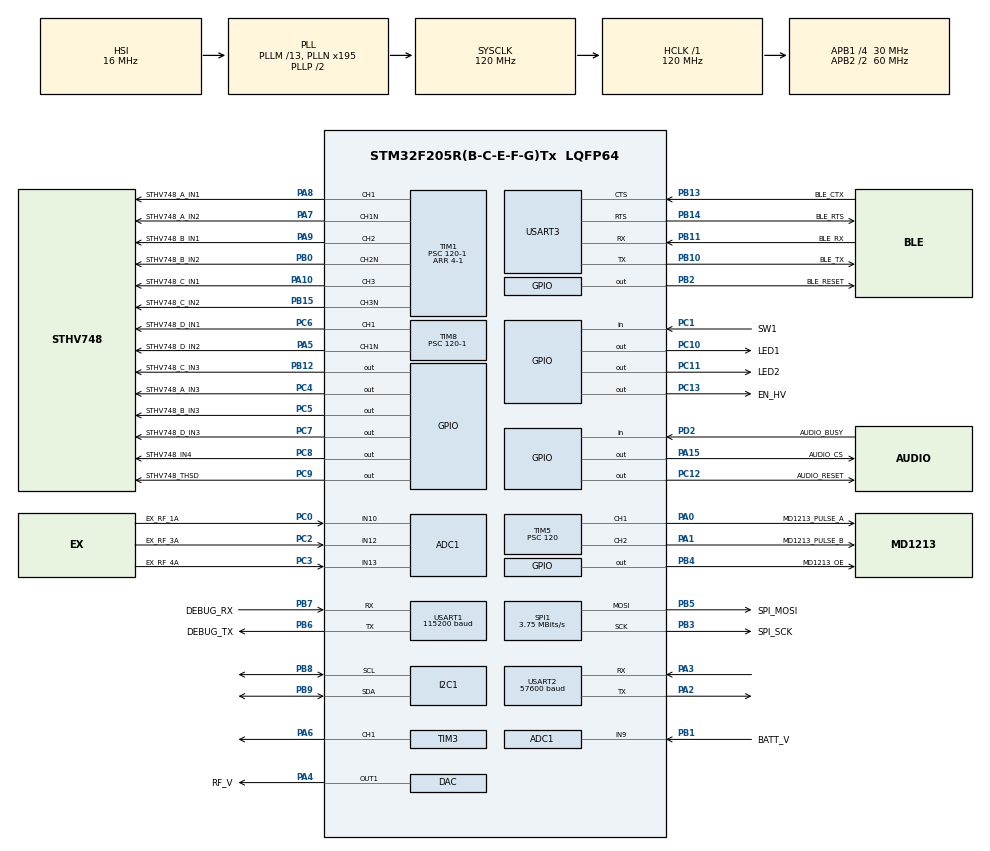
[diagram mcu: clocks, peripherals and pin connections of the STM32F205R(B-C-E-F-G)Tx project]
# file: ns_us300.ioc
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VP_TIM5_VS_ClockSourceINT.Mode=Internal
PC10.GPIO_PuPd=GPIO_PULLUP
TIM1.OCIdleState_1=TIM_OCIDLESTATE_SET
SPI1.VirtualType=VM_MASTER
PB10.Mode=Asynchronous
NVIC.TIM6_DAC_IRQn=true\:0\:0\:false\:false\:true\:true\:true
TIM1.Pulse-PWM\ Generation1\ CH1\ CH1N=2
PC12.Signal=GPIO_Output
PB14.GPIO_Label=BLE_RTS
PC6.GPIO_Label=STHV748_D_IN1
PB6.GPIO_Label=DEBUG_TX
PB13.Signal=USART3_CTS
RCC.SYSCLKSource=RCC_SYSCLKSOURCE_PLLCLK
TIM1.Pulse-PWM\ Generation2\ CH2\ CH2N=2
TIM8.OCNPolarity_1=TIM_OCNPOLARITY_LOW
PC13.GPIO_ModeDefaultOutputPP=GPIO_MODE_OUTPUT_PP
SPI1.Direction=SPI_DIRECTION_2LINES
RCC.APB2TimFreq_Value=120000000
PB6.Signal=USART1_TX
PC7.Signal=GPIO_Output
PB6.Mode=Asynchronous
SPI1.CalculateBaudRate=3.75 MBits/s
PC3.Signal=ADCx_IN13
TIM5.Pulse-PWM\ Generation1\ CH1=1
PB2.Signal=GPIO_Output
PB3.Mode=TX_Only_Simplex_Unidirect_Master
PB12.GPIO_ModeDefaultOutputPP=GPIO_MODE_OUTPUT_PP
PC1.GPIO_PuPd=GPIO_PULLUP
PB12.GPIO_Label=STHV748_C_IN3
PC4.GPIO_Label=STHV748_A_IN3
PB14.Mode=CTS_RTS
PB1.GPIO_Label=BATT_V
SPI1.DataSize=SPI_DATASIZE_16BIT
PA8.Signal=S_TIM1_CH1
PB2.GPIO_PuPd=GPIO_PULLUP
VP_TIM1_VS_ClockSourceINT.Mode=Internal
ADC1.SamplingTime-0\#ChannelRegularConversion=ADC_SAMPLETIME_3CYCLES
Mcu.Package=LQFP64
PB9.Signal=I2C1_SDA
PB1.Signal=ADCx_IN9
PA10.Signal=S_TIM1_CH3
TIM7.AutoReloadPreload=TIM_AUTORELOAD_PRELOAD_ENABLE
PC8.GPIO_Speed=GPIO_SPEED_FREQ_VERY_HIGH
SH.ADCx_IN9.0=ADC1_IN9,IN9
RCC.APB2CLKDivider=RCC_HCLK_DIV2
RCC.APB1TimFreq_Value=60000000
TIM1.Period=4-1
PB13.Mode=CTS_RTS
PC12.GPIO_PuPd=GPIO_PULLUP
NVIC.USART1_IRQn=true\:0\:0\:false\:false\:true\:true\:true
PB2.GPIO_ModeDefaultOutputPP=GPIO_MODE_OUTPUT_PP
PA4.GPIO_Label=RF_V
PA5.Mode=PWM Generation1 CH1 CH1N
PC7.GPIO_ModeDefaultOutputPP=GPIO_MODE_OUTPUT_PP
TIM1.OCPolarity_1=TIM_OCPOLARITY_LOW
TIM1.OCPolarity_3=TIM_OCPOLARITY_LOW
TIM5.Pulse-PWM\ Generation2\ CH2=1
TIM5.OC1Preload_PWM=DISABLE
TIM1.OCPolarity_2=TIM_OCPOLARITY_LOW
ADC1.Rank-0\#ChannelRegularConversion=1
TIM3.AutoReloadPreload=TIM_AUTORELOAD_PRELOAD_ENABLE
PA9.GPIO_Label=STHV748_B_IN1
PC13.Signal=GPIO_Output
PC6.Signal=S_TIM8_CH1
PC2.Signal=ADCx_IN12
PB11.GPIO_Label=BLE_RX
SPI1.CLKPhase=SPI_PHASE_1EDGE
TIM1.Channel-PWM\ Generation1\ CH1\ CH1N=TIM_CHANNEL_1
PC0.Signal=ADCx_IN10
RCC.APB1CLKDivider=RCC_HCLK_DIV4
USART2.BaudRate=57600
PA0-WKUP.GPIO_Label=MD1213_PULSE_A
PA0-WKUP.Signal=S_TIM5_CH1
PA3.Mode=Asynchronous
TIM1.AutoReloadPreload=TIM_AUTORELOAD_PRELOAD_ENABLE
TIM1.Channel-PWM\ Generation2\ CH2\ CH2N=TIM_CHANNEL_2
TIM5.TIM_MasterOutputTrigger=TIM_TRGO_ENABLE
PA8.GPIO_Label=STHV748_A_IN1
TIM3.Pulse-PWM\ Generation1\ CH1=0
PB11.Mode=Asynchronous
TIM5.OC2Preload_PWM=DISABLE
PA9.Signal=S_TIM1_CH2
VP_TIM8_VS_ClockSourceINT.Mode=Internal
TIM1.Channel-PWM\ Generation3\ CH3\ CH3N=TIM_CHANNEL_3
PB4.GPIO_PuPd=GPIO_PULLUP
PC7.GPIO_PuPd=GPIO_PULLUP
PB10.Signal=USART3_TX
PB14.Signal=USART3_RTS
PA5.Signal=TIM8_CH1N
SH.S_TIM8_CH1.0=TIM8_CH1,PWM Generation1 CH1 CH1N
TIM8.AutoReloadPreload=TIM_AUTORELOAD_PRELOAD_ENABLE
PB4.GPIO_Label=MD1213_OE
PB15.GPIO_Label=STHV748_C_IN2
SPI1.Mode=SPI_MODE_MASTER
PA1.GPIO_Label=MD1213_PULSE_B
PC9.GPIO_PuPd=GPIO_PULLUP
PA13.Mode=Serial_Wire
TIM1.Pulse-PWM\ Generation3\ CH3\ CH3N=2
TIM5.OCFastMode_PWM-PWM\ Generation1\ CH1=TIM_OCFAST_ENABLE
TIM8.Period=4-1
TIM8.OCPolarity_1=TIM_OCPOLARITY_LOW
PC7.GPIO_Label=STHV748_D_IN3
PC8.GPIO_PuPd=GPIO_PULLUP
TIM5.Channel-PWM\ Generation2\ CH2=TIM_CHANNEL_2
PA4.Signal=COMP_DAC1_group
PB5.Signal=SPI1_MOSI
ADC1.master=1
PA5.GPIO_Label=STHV748_D_IN2
TIM5.OCFastMode_PWM-PWM\ Generation2\ CH2=TIM_OCFAST_ENABLE
PC12.GPIO_Label=AUDIO_RESET
USART1.VirtualMode=VM_ASYNC
TIM5.Channel-PWM\ Generation1\ CH1=TIM_CHANNEL_1
ProjectManager.HeapSize=0x200
PC9.GPIO_Speed=GPIO_SPEED_FREQ_VERY_HIGH
NVIC.PriorityGroup=NVIC_PRIORITYGROUP_4
PC5.GPIO_Speed=GPIO_SPEED_FREQ_VERY_HIGH
PB8.Mode=I2C
PC3.GPIO_Label=EX_RF_4A
PD2.Signal=GPIO_Input
PB12.GPIO_PuPd=GPIO_PULLUP
PB0.Signal=TIM1_CH2N
PC1.Signal=GPIO_Input
PD2.GPIO_Label=AUDIO_BUSY
Mcu.Family=STM32F2
NVIC.USART3_IRQn=true\:0\:0\:false\:false\:true\:true\:true
RCC.CortexFreq_Value=120000000
USART1.BaudRate=115200
PC10.Signal=GPIO_Output
PB2.GPIO_Speed=GPIO_SPEED_FREQ_VERY_HIGH
SH.S_TIM5_CH2.0=TIM5_CH2,PWM Generation2 CH2
PC0.GPIO_Label=EX_RF_1A
PB0.GPIO_Label=STHV748_B_IN2
TIM5.OCPolarity_2=TIM_OCPOLARITY_LOW
PC13.GPIO_Label=EN_HV
PB13.GPIO_Label=BLE_CTX
PB11.Signal=USART3_RX
PB15.Signal=TIM1_CH3N
ProjectManager.StackSize=0x400
TIM5.OCPolarity_1=TIM_OCPOLARITY_LOW
VP_TIM7_VS_ClockSourceINT.Mode=Enable_Timer
PA15.GPIO_Label=AUDIO_CS
PC11.GPIO_PuPd=GPIO_PULLUP
TIM1.Prescaler=120-1
SPI1.CLKPolarity=SPI_POLARITY_LOW
RCC.HCLKFreq_Value=120000000
TIM3.Period=1000-1
TIM5.TIM_MasterSlaveMode=TIM_MASTERSLAVEMODE_DISABLE
TIM7.Period=1000-1
RCC.AHBFreq_Value=120000000
TIM3.Channel-PWM\ Generation1\ CH1=TIM_CHANNEL_1
TIM8.Channel-PWM\ Generation1\ CH1\ CH1N=TIM_CHANNEL_1
ADC1.Channel-0\#ChannelRegularConversion=ADC_CHANNEL_9
RCC.HSE_VALUE=25000000
PC4.GPIO_Speed=GPIO_SPEED_FREQ_VERY_HIGH
PA14.Mode=Serial_Wire
TIM3.Prescaler=59
PB5.Mode=TX_Only_Simplex_Unidirect_Master
PC11.GPIO_Label=LED2
PA10.GPIO_Label=STHV748_C_IN1
PC13.GPIO_PuPd=GPIO_PULLUP
PB7.Signal=USART1_RX
SH.S_TIM3_CH1.0=TIM3_CH1,PWM Generation1 CH1
TIM6.Period=240-1
TIM3.OCPolarity_1=TIM_OCPOLARITY_HIGH
PB7.GPIO_Label=DEBUG_RX
PA6.Signal=S_TIM3_CH1
USART2.VirtualMode=VM_ASYNC
PC8.GPIO_ModeDefaultOutputPP=GPIO_MODE_OUTPUT_PP
PA15.Signal=GPIO_Output
TIM8.Prescaler=120-1
PB5.GPIO_Label=SPI_MOSI
SH.S_TIM5_CH1.0=TIM5_CH1,PWM Generation1 CH1
PC5.Signal=GPIO_Output
SPI1.BaudRatePrescaler=SPI_BAUDRATEPRESCALER_16
PC2.GPIO_Label=EX_RF_3A
NVIC.TIM7_IRQn=true\:0\:0\:false\:false\:true\:true\:true
VP_TIM3_VS_ClockSourceINT.Mode=Internal
TIM8.Pulse-PWM\ Generation1\ CH1\ CH1N=2
PB4.Signal=GPIO_Output
PA3.Signal=USART2_RX
PB3.GPIO_Label=SPI_SCK
SH.COMP_DAC1_group.0=DAC_OUT1,DAC_OUT1
SH.ADCx_IN13.0=ADC1_IN13,IN13
PA7.Mode=PWM Generation1 CH1 CH1N
PC10.GPIO_Label=LED1
PC9.GPIO_Label=STHV748_THSD
PC4.GPIO_PuPd=GPIO_PULLUP
PC11.Signal=GPIO_Output
PC8.Signal=GPIO_Output
TIM6.Prescaler=25000-1
PC4.Signal=GPIO_Output
VP_TIM6_VS_ClockSourceINT.Mode=Enable_Timer
PC5.GPIO_PuPd=GPIO_PULLUP
NVIC.USART2_IRQn=true\:0\:0\:false\:false\:true\:true\:true
TIM5.AutoReloadPreload=TIM_AUTORELOAD_PRELOAD_ENABLE
PC8.GPIO_Label=STHV748_IN4
PA13.Signal=SYS_JTMS-SWDIO
TIM6.AutoReloadPreload=TIM_AUTORELOAD_PRELOAD_ENABLE
SH.ADCx_IN12.0=ADC1_IN12,IN12
SH.S_TIM1_CH1.0=TIM1_CH1,PWM Generation1 CH1 CH1N
ProjectManager.TargetToolchain=EWARM V8.32
PB10.GPIO_Label=BLE_TX
PB9.Mode=I2C
RCC.LSE_VALUE=32768
PA1.Signal=S_TIM5_CH2
PB12.GPIO_Speed=GPIO_SPEED_FREQ_VERY_HIGH
PB0.Mode=PWM Generation2 CH2 CH2N
TIM7.Prescaler=59
board=custom
PC7.GPIO_Speed=GPIO_SPEED_FREQ_VERY_HIGH
RCC.VCOOutputFreq_Value=240000000
TIM1.OCNPolarity_1=TIM_OCNPOLARITY_LOW
PB15.Mode=PWM Generation3 CH3 CH3N
TIM1.OCNIdleState_1=TIM_OCNIDLESTATE_SET
PA15.PinState=GPIO_PIN_SET
RCC.APB2Freq_Value=60000000
TIM1.OCNPolarity_3=TIM_OCNPOLARITY_LOW
TIM1.OCNPolarity_2=TIM_OCNPOLARITY_LOW
SH.S_TIM1_CH2.0=TIM1_CH2,PWM Generation2 CH2 CH2N
PC9.GPIO_ModeDefaultOutputPP=GPIO_MODE_OUTPUT_PP
PC1.GPIO_Label=SW1
Mcu.Name=STM32F205R(B-C-E-F-G)Tx
PA2.Signal=USART2_TX
RCC.48MHZClocksFreq_Value=48000000
PB3.Signal=SPI1_SCK
RCC.SYSCLKFreq_VALUE=120000000
USART1.OverSampling=UART_OVERSAMPLING_16
PA7.GPIO_Label=STHV748_A_IN2
TIM5.Prescaler=120
PC5.GPIO_Label=STHV748_B_IN3
USART3.VirtualMode=VM_ASYNC
PA15.GPIO_Speed=GPIO_SPEED_FREQ_VERY_HIGH
PB7.Mode=Asynchronous
PA14.Signal=SYS_JTCK-SWCLK
SH.ADCx_IN10.0=ADC1_IN10,IN10
PB2.GPIO_Label=BLE_RESET
SH.S_TIM1_CH3.0=TIM1_CH3,PWM Generation3 CH3 CH3N
RCC.HSI_VALUE=16000000
RCC.PLLQ=5
ADC1.NbrOfConversionFlag=1
RCC.PLLM=13
RCC.PLLN=195
PA15.GPIO_PuPd=GPIO_PULLUP
PA2.Mode=Asynchronous
PB8.Signal=I2C1_SCL
TIM5.Period=2-1
PC9.Signal=GPIO_Output
RCC.APB1Freq_Value=30000000
PC5.GPIO_ModeDefaultOutputPP=GPIO_MODE_OUTPUT_PP
PB12.Signal=GPIO_Output
PA7.Signal=TIM1_CH1N

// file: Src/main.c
/* USER CODE BEGIN Header */
/**
  ******************************************************************************
  * @file           : main.c
  * @brief          : Main program body
  ******************************************************************************
  * @attention
  *
  * <h2><center>&copy; Copyright (c) 2022 STMicroelectronics.
  * All rights reserved.</center></h2>
  *
  * This software component is licensed by ST under BSD 3-Clause license,
  * the "License"; You may not use this file except in compliance with the
  * License. You may obtain a copy of the License at:
  *                        opensource.org/licenses/BSD-3-Clause
  *
  ******************************************************************************
  */
/* USER CODE END Header */

#include "main.h"

/* USER CODE BEGIN Includes */
#include "debug.h"
#include "buffer.h"
#include "ringbuffer.h"
#include "xprintf.h"
#include "soft_timer.h"
#include "keyscan.h"

#include "task1.h"
#include "task2.h"
/* USER CODE END Includes */

/* USER CODE BEGIN PM */

//#define USEC100  (100)
//#define SEC      (1000*10)

/* USER CODE END PM */

ADC_HandleTypeDef hadc1;

DAC_HandleTypeDef hdac;

I2C_HandleTypeDef hi2c1;

SPI_HandleTypeDef hspi1;

TIM_HandleTypeDef htim1;
TIM_HandleTypeDef htim3;
TIM_HandleTypeDef htim5;
TIM_HandleTypeDef htim6;
TIM_HandleTypeDef htim7;
TIM_HandleTypeDef htim8;

UART_HandleTypeDef huart1;
UART_HandleTypeDef huart2;
UART_HandleTypeDef huart3;

/* USER CODE BEGIN PV */
CONFIG_T gConfig;
uint8_t  UARTRxBuffIdx;
uint8_t  UARTRxBuff[128];

uint8_t  UARTRxEEGBuffIdx;
uint8_t  UARTRxEEGBuff[128];
// char     Received[256];
// BUFFER_t USART_Buffer;
// uint8_t  USARTBuffer[RX_RING_SIZE];

uint16_t tim3_ch1_duty;

uint8_t  console_debug = 1;

 uint8_t  RF_Start = 0;
 uint16_t RF_PSC;
/* USER CODE END PV */

void SystemClock_Config(void);
static void MX_GPIO_Init(void);
static void MX_ADC1_Init(void);
static void MX_I2C1_Init(void);
static void MX_TIM1_Init(void);
static void MX_TIM5_Init(void);
static void MX_TIM8_Init(void);
static void MX_USART1_UART_Init(void);
static void MX_USART3_UART_Init(void);
static void MX_TIM6_Init(void);
static void MX_DAC_Init(void);
static void MX_TIM3_Init(void);
static void MX_TIM7_Init(void);
static void MX_USART2_UART_Init(void);
static void MX_SPI1_Init(void);
/* USER CODE BEGIN PFP */

int32_t setTBDAndDuty(int32_t tbd,int32_t duty);
int32_t setTiming(int32_t SD,int32_t ISI,int32_t *pTD);
int32_t calcurateSD(int32_t sd,int32_t prp);

void InituserTask03(CONFIG_T *sysconf);
void userTask03(CONFIG_T *sysconf);

extern void dig_port(uint16_t val);
/* USER CODE END PFP */

/* USER CODE BEGIN 0 */
void CONFIG_MODE(uint32_t timeOut)
{
  gConfig.state = 1;
  gConfig.timeout = timeOut;
}

void GPIO_HV_Enable(uint8_t enable)
{
  //Single HV EN
  if(enable)
    GPIOC->BSRR  = EN_HV_Pin;
  else
    GPIOC->BSRR = (uint32_t)EN_HV_Pin << 16U;

  //Multy HV EN
  if(enable)
    GPIOB->BSRR  = BATT_V_Pin;
  else
    GPIOB->BSRR = (uint32_t)BATT_V_Pin << 16U;
}

void MD1213_OE_Enable(uint8_t enable)
{
  if(enable)
    MD1213_OE_GPIO_Port->BSRR  = MD1213_OE_Pin;
  else
    MD1213_OE_GPIO_Port->BSRR = (uint32_t)MD1213_OE_Pin << 16U;
}

void STHV748_THSD_Enable(uint8_t enable)
{
  if(enable)
    STHV748_THSD_GPIO_Port->BSRR  = STHV748_THSD_Pin;
  else
    STHV748_THSD_GPIO_Port->BSRR = (uint32_t)STHV748_THSD_Pin << 16U;
}

void LED1_ON(uint8_t on)
{
  if(!on)
    LED1_GPIO_Port->BSRR  = LED1_Pin;
  else
    LED1_GPIO_Port->BSRR = (uint32_t)LED1_Pin << 16U;
}

void calcuarateEnv(CONFIG_T *env, Timer_T *t)
{

}
void Load_Env(CONFIG_T *env)
{
  if(env != NULL)
  {

    // NvCheckAndReset();
    // NvReadAll(env);

     env->setFrequency = 250000;
     env->setOutputVoltage = 50;

     // 1 = 4us
     env->setTBD  =  from100uSEC(1);   // range 0.1 ~ 50ms  (100 ~ 50000)
     env->setDuty =  50;   //  range   1 ~ 100 %
     env->setPRP  = setTBDAndDuty(env->setTBD,env->setDuty);

     env->setSD  =  env->setPRP*5;      // range 1 ~ 500ms  (1000 ~ 500000)
     env->setISI =  env->setSD;       // s
     env->setBI  = env->setSD + env->setISI;    // s
     env->setTD  = 100*SEC;     // s

     env->setImpedance = 50;

    env->setDelay[RF_CH0] = 0;
    env->setDelay[RF_CH1] = 0;
    env->setDelay[RF_CH2] = from100uSEC(1);//10*USEC100;
    env->setDelay[RF_CH3] = from100uSEC(2);//20*USEC100;
    env->setDelay[RF_CH4] = from100uSEC(3);//30*USEC100;
    env->setDelay[RF_CH5] = from100uSEC(3);//40*USEC100;
    env->setDelay[RF_CH6] = from100uSEC(3);//50*USEC100;

    env->setAbnormalStopMode = 0;
    env->setAbnormalStopMaxV = 50;
    env->setAbnormalStopMaxI = 50;
    env->setAbnormalStopMinV = 50;
    env->setAbnormalStopMinI = 50;

    env->sonication = 0;

  }

}

void display_version(void)
{
  DBG_INFO("\r\nVersion %s(%s %s)\r\n",_VERSION_,__DATE__,__TIME__);
}

void indro_message(void)
{
#if defined(CONFIG_MULTI)
  DBG_INFO("\r\n\r\nNEUROSONA NS-US300 Multi  RF ES B'rd");
#else
  DBG_INFO("\r\n\r\nNEUROSONA NS-US300 Single RF ES B'rd");
#endif
  DBG_INFO("\r\nBuild Date  %s %s",__DATE__,__TIME__);
  DBG_INFO("\r\nFW  Version %s\r\n",_VERSION_);
  DBG_INFO_MAG("NEUROSONA Co., Ltd. ");
  DBG_INFO_CYN("www.neurosona.com\r\n");
}
/* USER CODE END 0 */

int main(void)
{
  /* USER CODE BEGIN 1 */
  uint8_t x = 0;
  /* USER CODE END 1 */

  /* MCU Configuration--------------------------------------------------------*/

  /* Reset of all peripherals, Initializes the Flash interface and the Systick. */
  HAL_Init();

  /* Configure the system clock */
  SystemClock_Config();

  /* Initialize all configured peripherals */
  MX_GPIO_Init();
  MX_ADC1_Init();
  MX_I2C1_Init();
  MX_TIM1_Init();
  MX_TIM5_Init();
  MX_TIM8_Init();
  MX_USART1_UART_Init();
  MX_USART3_UART_Init();
  MX_TIM6_Init();
  MX_DAC_Init();
  MX_TIM3_Init();
  MX_TIM7_Init();
  MX_USART2_UART_Init();
  MX_SPI1_Init();
  /* USER CODE BEGIN 2 */
  InitSysTimeOut();
#if defined(DEBUG_UART3)
  DEBUG_LL_USARTInit(&huart1,&huart3);
  BUFFER_Init(&USART_Buffer, RX_RING_SIZE, USARTBuffer);
#else
  DEBUG_LL_USARTInit(&huart1,NULL);
  BUFFER_Init(&USART_Buffer, RX_RING_SIZE, USARTBuffer);
#endif

  indro_message();
#if 0

#endif

  #if defined(CONFIG_MULTI)
  {
    GPIO_InitTypeDef GPIO_InitStruct = {0};
    /*Configure GPIO pin Output Level */
    HAL_GPIO_WritePin(GPIOB, BATT_V_Pin, GPIO_PIN_RESET);

    /*Configure GPIO pins : BATT_V_Pin  */
    GPIO_InitStruct.Pin = BATT_V_Pin;
    GPIO_InitStruct.Mode = GPIO_MODE_OUTPUT_PP;
    GPIO_InitStruct.Pull = GPIO_PULLUP;
    GPIO_InitStruct.Speed = GPIO_SPEED_FREQ_LOW;
    HAL_GPIO_Init(GPIOB, &GPIO_InitStruct);
  }
  #endif
  GPIO_HV_Enable(DISABLE);

#if defined(CONFIG_MULTI)
  STHV748_THSD_Enable(DISABLE);
#else
  MD1213_OE_Enable(DISABLE);
#endif
  /* USER CODE END 2 */

  /* Infinite loop */
  /* USER CODE BEGIN WHILE */

  UARTRxBuffIdx = 0;

#if defined(DEBUG_UART3)
  HAL_UART_Receive_IT(&huart3,(uint8_t*)&UARTRxBuff[UARTRxBuffIdx],1);
  HAL_UART_Receive_IT(&huart1,(uint8_t*)&UARTRxBuff[UARTRxBuffIdx],1);
#else
  HAL_UART_Receive_IT(&huart1,(uint8_t*)&UARTRxBuff[UARTRxBuffIdx],1);
#endif

  UARTRxEEGBuffIdx = 0;
  HAL_UART_Receive_IT(&huart2,(uint8_t*)&UARTRxEEGBuff[UARTRxEEGBuffIdx],1);

  Load_Env(&gConfig);

  sound_enable();

  InituserTask01(&gConfig);
  InituserTask02(&gConfig);
  InituserTask03(&gConfig);

  while (1)
  {
    /* USER CODE END WHILE */

    /* USER CODE BEGIN 3 */
    userTask01(&gConfig);
    userTask02(&gConfig);
    userTask03(&gConfig);
  }
  /* USER CODE END 3 */
}

void SystemClock_Config(void)
{
  RCC_OscInitTypeDef RCC_OscInitStruct = {0};
  RCC_ClkInitTypeDef RCC_ClkInitStruct = {0};

  /** Initializes the CPU, AHB and APB busses clocks
  */
  RCC_OscInitStruct.OscillatorType = RCC_OSCILLATORTYPE_HSI;
  RCC_OscInitStruct.HSIState = RCC_HSI_ON;
  RCC_OscInitStruct.HSICalibrationValue = RCC_HSICALIBRATION_DEFAULT;
  RCC_OscInitStruct.PLL.PLLState = RCC_PLL_ON;
  RCC_OscInitStruct.PLL.PLLSource = RCC_PLLSOURCE_HSI;
  RCC_OscInitStruct.PLL.PLLM = 13;
  RCC_OscInitStruct.PLL.PLLN = 195;
  RCC_OscInitStruct.PLL.PLLP = RCC_PLLP_DIV2;
  RCC_OscInitStruct.PLL.PLLQ = 5;
  if (HAL_RCC_OscConfig(&RCC_OscInitStruct) != HAL_OK)
  {
    Error_Handler();
  }
  /** Initializes the CPU, AHB and APB busses clocks
  */
  RCC_ClkInitStruct.ClockType = RCC_CLOCKTYPE_HCLK|RCC_CLOCKTYPE_SYSCLK
                              |RCC_CLOCKTYPE_PCLK1|RCC_CLOCKTYPE_PCLK2;
  RCC_ClkInitStruct.SYSCLKSource = RCC_SYSCLKSOURCE_PLLCLK;
  RCC_ClkInitStruct.AHBCLKDivider = RCC_SYSCLK_DIV1;
  RCC_ClkInitStruct.APB1CLKDivider = RCC_HCLK_DIV4;
  RCC_ClkInitStruct.APB2CLKDivider = RCC_HCLK_DIV2;

  if (HAL_RCC_ClockConfig(&RCC_ClkInitStruct, FLASH_LATENCY_3) != HAL_OK)
  {
    Error_Handler();
  }
}

static void MX_ADC1_Init(void)
{

  ADC_ChannelConfTypeDef sConfig = {0};

  /** Configure the global features of the ADC (Clock, Resolution, Data Alignment and number of conversion)
  */
  hadc1.Instance = ADC1;
  hadc1.Init.ClockPrescaler = ADC_CLOCK_SYNC_PCLK_DIV2;
  hadc1.Init.Resolution = ADC_RESOLUTION_12B;
  hadc1.Init.ScanConvMode = DISABLE;
  hadc1.Init.ContinuousConvMode = DISABLE;
  hadc1.Init.DiscontinuousConvMode = DISABLE;
  hadc1.Init.ExternalTrigConvEdge = ADC_EXTERNALTRIGCONVEDGE_NONE;
  hadc1.Init.ExternalTrigConv = ADC_SOFTWARE_START;
  hadc1.Init.DataAlign = ADC_DATAALIGN_RIGHT;
  hadc1.Init.NbrOfConversion = 1;
  hadc1.Init.DMAContinuousRequests = DISABLE;
  hadc1.Init.EOCSelection = ADC_EOC_SINGLE_CONV;
  if (HAL_ADC_Init(&hadc1) != HAL_OK)
  {
    Error_Handler();
  }
  /** Configure for the selected ADC regular channel its corresponding rank in the sequencer and its sample time.
  */
  sConfig.Channel = ADC_CHANNEL_9;
  sConfig.Rank = 1;
  sConfig.SamplingTime = ADC_SAMPLETIME_3CYCLES;
  if (HAL_ADC_ConfigChannel(&hadc1, &sConfig) != HAL_OK)
  {
    Error_Handler();
  }

}

static void MX_DAC_Init(void)
{

  DAC_ChannelConfTypeDef sConfig = {0};

  /** DAC Initialization
  */
  hdac.Instance = DAC;
  if (HAL_DAC_Init(&hdac) != HAL_OK)
  {
    Error_Handler();
  }
  /** DAC channel OUT1 config
  */
  sConfig.DAC_Trigger = DAC_TRIGGER_NONE;
  sConfig.DAC_OutputBuffer = DAC_OUTPUTBUFFER_ENABLE;
  if (HAL_DAC_ConfigChannel(&hdac, &sConfig, DAC_CHANNEL_1) != HAL_OK)
  {
    Error_Handler();
  }

}

static void MX_I2C1_Init(void)
{

  hi2c1.Instance = I2C1;
  hi2c1.Init.ClockSpeed = 100000;
  hi2c1.Init.DutyCycle = I2C_DUTYCYCLE_2;
  hi2c1.Init.OwnAddress1 = 0;
  hi2c1.Init.AddressingMode = I2C_ADDRESSINGMODE_7BIT;
  hi2c1.Init.DualAddressMode = I2C_DUALADDRESS_DISABLE;
  hi2c1.Init.OwnAddress2 = 0;
  hi2c1.Init.GeneralCallMode = I2C_GENERALCALL_DISABLE;
  hi2c1.Init.NoStretchMode = I2C_NOSTRETCH_DISABLE;
  if (HAL_I2C_Init(&hi2c1) != HAL_OK)
  {
    Error_Handler();
  }

}

static void MX_SPI1_Init(void)
{

  /* SPI1 parameter configuration*/
  hspi1.Instance = SPI1;
  hspi1.Init.Mode = SPI_MODE_MASTER;
  hspi1.Init.Direction = SPI_DIRECTION_2LINES;
  hspi1.Init.DataSize = SPI_DATASIZE_16BIT;
  hspi1.Init.CLKPolarity = SPI_POLARITY_LOW;
  hspi1.Init.CLKPhase = SPI_PHASE_1EDGE;
  hspi1.Init.NSS = SPI_NSS_SOFT;
  hspi1.Init.BaudRatePrescaler = SPI_BAUDRATEPRESCALER_16;
  hspi1.Init.FirstBit = SPI_FIRSTBIT_MSB;
  hspi1.Init.TIMode = SPI_TIMODE_DISABLE;
  hspi1.Init.CRCCalculation = SPI_CRCCALCULATION_DISABLE;
  hspi1.Init.CRCPolynomial = 10;
  if (HAL_SPI_Init(&hspi1) != HAL_OK)
  {
    Error_Handler();
  }

}

static void MX_TIM1_Init(void)
{

  TIM_ClockConfigTypeDef sClockSourceConfig = {0};
  TIM_MasterConfigTypeDef sMasterConfig = {0};
  TIM_OC_InitTypeDef sConfigOC = {0};
  TIM_BreakDeadTimeConfigTypeDef sBreakDeadTimeConfig = {0};

  htim1.Instance = TIM1;
  htim1.Init.Prescaler = 120-1;
  htim1.Init.CounterMode = TIM_COUNTERMODE_UP;
  htim1.Init.Period = 4-1;
  htim1.Init.ClockDivision = TIM_CLOCKDIVISION_DIV1;
  htim1.Init.RepetitionCounter = 0;
  htim1.Init.AutoReloadPreload = TIM_AUTORELOAD_PRELOAD_ENABLE;
  if (HAL_TIM_Base_Init(&htim1) != HAL_OK)
  {
    Error_Handler();
  }
  sClockSourceConfig.ClockSource = TIM_CLOCKSOURCE_INTERNAL;
  if (HAL_TIM_ConfigClockSource(&htim1, &sClockSourceConfig) != HAL_OK)
  {
    Error_Handler();
  }
  if (HAL_TIM_PWM_Init(&htim1) != HAL_OK)
  {
    Error_Handler();
  }
  sMasterConfig.MasterOutputTrigger = TIM_TRGO_RESET;
  sMasterConfig.MasterSlaveMode = TIM_MASTERSLAVEMODE_DISABLE;
  if (HAL_TIMEx_MasterConfigSynchronization(&htim1, &sMasterConfig) != HAL_OK)
  {
    Error_Handler();
  }
  sConfigOC.OCMode = TIM_OCMODE_PWM1;
  sConfigOC.Pulse = 2;
  sConfigOC.OCPolarity = TIM_OCPOLARITY_LOW;
  sConfigOC.OCNPolarity = TIM_OCNPOLARITY_LOW;
  sConfigOC.OCFastMode = TIM_OCFAST_DISABLE;
  sConfigOC.OCIdleState = TIM_OCIDLESTATE_SET;
  sConfigOC.OCNIdleState = TIM_OCNIDLESTATE_SET;
  if (HAL_TIM_PWM_ConfigChannel(&htim1, &sConfigOC, TIM_CHANNEL_1) != HAL_OK)
  {
    Error_Handler();
  }
  sConfigOC.OCIdleState = TIM_OCIDLESTATE_RESET;
  sConfigOC.OCNIdleState = TIM_OCNIDLESTATE_RESET;
  if (HAL_TIM_PWM_ConfigChannel(&htim1, &sConfigOC, TIM_CHANNEL_2) != HAL_OK)
  {
    Error_Handler();
  }
  if (HAL_TIM_PWM_ConfigChannel(&htim1, &sConfigOC, TIM_CHANNEL_3) != HAL_OK)
  {
    Error_Handler();
  }
  sBreakDeadTimeConfig.OffStateRunMode = TIM_OSSR_DISABLE;
  sBreakDeadTimeConfig.OffStateIDLEMode = TIM_OSSI_DISABLE;
  sBreakDeadTimeConfig.LockLevel = TIM_LOCKLEVEL_OFF;
  sBreakDeadTimeConfig.DeadTime = 0;
  sBreakDeadTimeConfig.BreakState = TIM_BREAK_DISABLE;
  sBreakDeadTimeConfig.BreakPolarity = TIM_BREAKPOLARITY_HIGH;
  sBreakDeadTimeConfig.AutomaticOutput = TIM_AUTOMATICOUTPUT_DISABLE;
  if (HAL_TIMEx_ConfigBreakDeadTime(&htim1, &sBreakDeadTimeConfig) != HAL_OK)
  {
    Error_Handler();
  }
  HAL_TIM_MspPostInit(&htim1);

}

static void MX_TIM3_Init(void)
{

  TIM_ClockConfigTypeDef sClockSourceConfig = {0};
  TIM_MasterConfigTypeDef sMasterConfig = {0};
  TIM_OC_InitTypeDef sConfigOC = {0};

  htim3.Instance = TIM3;
  htim3.Init.Prescaler = 59;
  htim3.Init.CounterMode = TIM_COUNTERMODE_UP;
  htim3.Init.Period = 1000-1;
  htim3.Init.ClockDivision = TIM_CLOCKDIVISION_DIV1;
  htim3.Init.AutoReloadPreload = TIM_AUTORELOAD_PRELOAD_ENABLE;
  if (HAL_TIM_Base_Init(&htim3) != HAL_OK)
  {
    Error_Handler();
  }
  sClockSourceConfig.ClockSource = TIM_CLOCKSOURCE_INTERNAL;
  if (HAL_TIM_ConfigClockSource(&htim3, &sClockSourceConfig) != HAL_OK)
  {
    Error_Handler();
  }
  if (HAL_TIM_PWM_Init(&htim3) != HAL_OK)
  {
    Error_Handler();
  }
  sMasterConfig.MasterOutputTrigger = TIM_TRGO_RESET;
  sMasterConfig.MasterSlaveMode = TIM_MASTERSLAVEMODE_DISABLE;
  if (HAL_TIMEx_MasterConfigSynchronization(&htim3, &sMasterConfig) != HAL_OK)
  {
    Error_Handler();
  }
  sConfigOC.OCMode = TIM_OCMODE_PWM1;
  sConfigOC.Pulse = 0;
  sConfigOC.OCPolarity = TIM_OCPOLARITY_HIGH;
  sConfigOC.OCFastMode = TIM_OCFAST_DISABLE;
  if (HAL_TIM_PWM_ConfigChannel(&htim3, &sConfigOC, TIM_CHANNEL_1) != HAL_OK)
  {
    Error_Handler();
  }
  HAL_TIM_MspPostInit(&htim3);

}

static void MX_TIM5_Init(void)
{

  TIM_ClockConfigTypeDef sClockSourceConfig = {0};
  TIM_MasterConfigTypeDef sMasterConfig = {0};
  TIM_OC_InitTypeDef sConfigOC = {0};

  htim5.Instance = TIM5;
  htim5.Init.Prescaler = 120;
  htim5.Init.CounterMode = TIM_COUNTERMODE_UP;
  htim5.Init.Period = 2-1;
  htim5.Init.ClockDivision = TIM_CLOCKDIVISION_DIV1;
  htim5.Init.AutoReloadPreload = TIM_AUTORELOAD_PRELOAD_ENABLE;
  if (HAL_TIM_Base_Init(&htim5) != HAL_OK)
  {
    Error_Handler();
  }
  sClockSourceConfig.ClockSource = TIM_CLOCKSOURCE_INTERNAL;
  if (HAL_TIM_ConfigClockSource(&htim5, &sClockSourceConfig) != HAL_OK)
  {
    Error_Handler();
  }
  if (HAL_TIM_PWM_Init(&htim5) != HAL_OK)
  {
    Error_Handler();
  }
  sMasterConfig.MasterOutputTrigger = TIM_TRGO_ENABLE;
  sMasterConfig.MasterSlaveMode = TIM_MASTERSLAVEMODE_DISABLE;
  if (HAL_TIMEx_MasterConfigSynchronization(&htim5, &sMasterConfig) != HAL_OK)
  {
    Error_Handler();
  }
  sConfigOC.OCMode = TIM_OCMODE_PWM1;
  sConfigOC.Pulse = 1;
  sConfigOC.OCPolarity = TIM_OCPOLARITY_LOW;
  sConfigOC.OCFastMode = TIM_OCFAST_ENABLE;
  if (HAL_TIM_PWM_ConfigChannel(&htim5, &sConfigOC, TIM_CHANNEL_1) != HAL_OK)
  {
    Error_Handler();
  }
  __HAL_TIM_DISABLE_OCxPRELOAD(&htim5, TIM_CHANNEL_1);
  if (HAL_TIM_PWM_ConfigChannel(&htim5, &sConfigOC, TIM_CHANNEL_2) != HAL_OK)
  {
    Error_Handler();
  }
  __HAL_TIM_DISABLE_OCxPRELOAD(&htim5, TIM_CHANNEL_2);
  HAL_TIM_MspPostInit(&htim5);

}

static void MX_TIM6_Init(void)
{

  TIM_MasterConfigTypeDef sMasterConfig = {0};

  htim6.Instance = TIM6;
  htim6.Init.Prescaler = 25000-1;
  htim6.Init.CounterMode = TIM_COUNTERMODE_UP;
  htim6.Init.Period = 240-1;
  htim6.Init.AutoReloadPreload = TIM_AUTORELOAD_PRELOAD_ENABLE;
  if (HAL_TIM_Base_Init(&htim6) != HAL_OK)
  {
    Error_Handler();
  }
  sMasterConfig.MasterOutputTrigger = TIM_TRGO_RESET;
  sMasterConfig.MasterSlaveMode = TIM_MASTERSLAVEMODE_DISABLE;
  if (HAL_TIMEx_MasterConfigSynchronization(&htim6, &sMasterConfig) != HAL_OK)
  {
    Error_Handler();
  }

}

static void MX_TIM7_Init(void)
{

  TIM_MasterConfigTypeDef sMasterConfig = {0};

  htim7.Instance = TIM7;
  htim7.Init.Prescaler = 59;
  htim7.Init.CounterMode = TIM_COUNTERMODE_UP;
  htim7.Init.Period = 1000-1;
  htim7.Init.AutoReloadPreload = TIM_AUTORELOAD_PRELOAD_ENABLE;
  if (HAL_TIM_Base_Init(&htim7) != HAL_OK)
  {
    Error_Handler();
  }
  sMasterConfig.MasterOutputTrigger = TIM_TRGO_RESET;
  sMasterConfig.MasterSlaveMode = TIM_MASTERSLAVEMODE_DISABLE;
  if (HAL_TIMEx_MasterConfigSynchronization(&htim7, &sMasterConfig) != HAL_OK)
  {
    Error_Handler();
  }

}

static void MX_TIM8_Init(void)
{

  TIM_ClockConfigTypeDef sClockSourceConfig = {0};
  TIM_MasterConfigTypeDef sMasterConfig = {0};
  TIM_OC_InitTypeDef sConfigOC = {0};
  TIM_BreakDeadTimeConfigTypeDef sBreakDeadTimeConfig = {0};

  htim8.Instance = TIM8;
  htim8.Init.Prescaler = 120-1;
  htim8.Init.CounterMode = TIM_COUNTERMODE_UP;
  htim8.Init.Period = 4-1;
  htim8.Init.ClockDivision = TIM_CLOCKDIVISION_DIV1;
  htim8.Init.RepetitionCounter = 0;
  htim8.Init.AutoReloadPreload = TIM_AUTORELOAD_PRELOAD_ENABLE;
  if (HAL_TIM_Base_Init(&htim8) != HAL_OK)
  {
    Error_Handler();
  }
  sClockSourceConfig.ClockSource = TIM_CLOCKSOURCE_INTERNAL;
  if (HAL_TIM_ConfigClockSource(&htim8, &sClockSourceConfig) != HAL_OK)
  {
    Error_Handler();
  }
  if (HAL_TIM_PWM_Init(&htim8) != HAL_OK)
  {
    Error_Handler();
  }
  sMasterConfig.MasterOutputTrigger = TIM_TRGO_RESET;
  sMasterConfig.MasterSlaveMode = TIM_MASTERSLAVEMODE_DISABLE;
  if (HAL_TIMEx_MasterConfigSynchronization(&htim8, &sMasterConfig) != HAL_OK)
  {
    Error_Handler();
  }
  sConfigOC.OCMode = TIM_OCMODE_PWM1;
  sConfigOC.Pulse = 2;
  sConfigOC.OCPolarity = TIM_OCPOLARITY_LOW;
  sConfigOC.OCNPolarity = TIM_OCNPOLARITY_LOW;
  sConfigOC.OCFastMode = TIM_OCFAST_DISABLE;
  sConfigOC.OCIdleState = TIM_OCIDLESTATE_RESET;
  sConfigOC.OCNIdleState = TIM_OCNIDLESTATE_RESET;
  if (HAL_TIM_PWM_ConfigChannel(&htim8, &sConfigOC, TIM_CHANNEL_1) != HAL_OK)
  {
    Error_Handler();
  }
  sBreakDeadTimeConfig.OffStateRunMode = TIM_OSSR_DISABLE;
  sBreakDeadTimeConfig.OffStateIDLEMode = TIM_OSSI_DISABLE;
  sBreakDeadTimeConfig.LockLevel = TIM_LOCKLEVEL_OFF;
  sBreakDeadTimeConfig.DeadTime = 0;
  sBreakDeadTimeConfig.BreakState = TIM_BREAK_DISABLE;
  sBreakDeadTimeConfig.BreakPolarity = TIM_BREAKPOLARITY_HIGH;
  sBreakDeadTimeConfig.AutomaticOutput = TIM_AUTOMATICOUTPUT_DISABLE;
  if (HAL_TIMEx_ConfigBreakDeadTime(&htim8, &sBreakDeadTimeConfig) != HAL_OK)
  {
    Error_Handler();
  }
  HAL_TIM_MspPostInit(&htim8);

}

static void MX_USART1_UART_Init(void)
{

  huart1.Instance = USART1;
  huart1.Init.BaudRate = 115200;
  huart1.Init.WordLength = UART_WORDLENGTH_8B;
  huart1.Init.StopBits = UART_STOPBITS_1;
  huart1.Init.Parity = UART_PARITY_NONE;
  huart1.Init.Mode = UART_MODE_TX_RX;
  huart1.Init.HwFlowCtl = UART_HWCONTROL_NONE;
  huart1.Init.OverSampling = UART_OVERSAMPLING_16;
  if (HAL_UART_Init(&huart1) != HAL_OK)
  {
    Error_Handler();
  }

}

static void MX_USART2_UART_Init(void)
{

  huart2.Instance = USART2;
  huart2.Init.BaudRate = 57600;
  huart2.Init.WordLength = UART_WORDLENGTH_8B;
  huart2.Init.StopBits = UART_STOPBITS_1;
  huart2.Init.Parity = UART_PARITY_NONE;
  huart2.Init.Mode = UART_MODE_TX_RX;
  huart2.Init.HwFlowCtl = UART_HWCONTROL_NONE;
  huart2.Init.OverSampling = UART_OVERSAMPLING_16;
  if (HAL_UART_Init(&huart2) != HAL_OK)
  {
    Error_Handler();
  }

}

static void MX_USART3_UART_Init(void)
{

  huart3.Instance = USART3;
  huart3.Init.BaudRate = 115200;
  huart3.Init.WordLength = UART_WORDLENGTH_8B;
  huart3.Init.StopBits = UART_STOPBITS_1;
  huart3.Init.Parity = UART_PARITY_NONE;
  huart3.Init.Mode = UART_MODE_TX_RX;
  huart3.Init.HwFlowCtl = UART_HWCONTROL_RTS_CTS;
  huart3.Init.OverSampling = UART_OVERSAMPLING_16;
  if (HAL_UART_Init(&huart3) != HAL_OK)
  {
    Error_Handler();
  }

}

static void MX_GPIO_Init(void)
{
  GPIO_InitTypeDef GPIO_InitStruct = {0};

  /* GPIO Ports Clock Enable */
  __HAL_RCC_GPIOC_CLK_ENABLE();
  __HAL_RCC_GPIOA_CLK_ENABLE();
  __HAL_RCC_GPIOB_CLK_ENABLE();
  __HAL_RCC_GPIOD_CLK_ENABLE();

  /*Configure GPIO pin Output Level */
  HAL_GPIO_WritePin(GPIOC, EN_HV_Pin|STHV748_A_IN3_Pin|STHV748_B_IN3_Pin|STHV748_D_IN3_Pin
                          |STHV748_IN4_Pin|STHV748_THSD_Pin|LED1_Pin|LED2_Pin
                          |AUDIO_RESET_Pin, GPIO_PIN_RESET);

  /*Configure GPIO pin Output Level */
  HAL_GPIO_WritePin(GPIOB, BLE_RESET_Pin|STHV748_C_IN3_Pin|MD1213_OE_Pin, GPIO_PIN_RESET);

  /*Configure GPIO pin Output Level */
  HAL_GPIO_WritePin(AUDIO_CS_GPIO_Port, AUDIO_CS_Pin, GPIO_PIN_SET);

  /*Configure GPIO pins : EN_HV_Pin LED1_Pin LED2_Pin AUDIO_RESET_Pin */
  GPIO_InitStruct.Pin = EN_HV_Pin|LED1_Pin|LED2_Pin|AUDIO_RESET_Pin;
  GPIO_InitStruct.Mode = GPIO_MODE_OUTPUT_PP;
  GPIO_InitStruct.Pull = GPIO_PULLUP;
  GPIO_InitStruct.Speed = GPIO_SPEED_FREQ_LOW;
  HAL_GPIO_Init(GPIOC, &GPIO_InitStruct);

  /*Configure GPIO pin : SW1_Pin */
  GPIO_InitStruct.Pin = SW1_Pin;
  GPIO_InitStruct.Mode = GPIO_MODE_INPUT;
  GPIO_InitStruct.Pull = GPIO_PULLUP;
  HAL_GPIO_Init(SW1_GPIO_Port, &GPIO_InitStruct);

  /*Configure GPIO pins : STHV748_A_IN3_Pin STHV748_B_IN3_Pin STHV748_D_IN3_Pin STHV748_IN4_Pin
                           STHV748_THSD_Pin */
  GPIO_InitStruct.Pin = STHV748_A_IN3_Pin|STHV748_B_IN3_Pin|STHV748_D_IN3_Pin|STHV748_IN4_Pin
                          |STHV748_THSD_Pin;
  GPIO_InitStruct.Mode = GPIO_MODE_OUTPUT_PP;
  GPIO_InitStruct.Pull = GPIO_PULLUP;
  GPIO_InitStruct.Speed = GPIO_SPEED_FREQ_VERY_HIGH;
  HAL_GPIO_Init(GPIOC, &GPIO_InitStruct);

  /*Configure GPIO pins : BLE_RESET_Pin STHV748_C_IN3_Pin */
  GPIO_InitStruct.Pin = BLE_RESET_Pin|STHV748_C_IN3_Pin;
  GPIO_InitStruct.Mode = GPIO_MODE_OUTPUT_PP;
  GPIO_InitStruct.Pull = GPIO_PULLUP;
  GPIO_InitStruct.Speed = GPIO_SPEED_FREQ_VERY_HIGH;
  HAL_GPIO_Init(GPIOB, &GPIO_InitStruct);

  /*Configure GPIO pin : AUDIO_CS_Pin */
  GPIO_InitStruct.Pin = AUDIO_CS_Pin;
  GPIO_InitStruct.Mode = GPIO_MODE_OUTPUT_PP;
  GPIO_InitStruct.Pull = GPIO_PULLUP;
  GPIO_InitStruct.Speed = GPIO_SPEED_FREQ_VERY_HIGH;
  HAL_GPIO_Init(AUDIO_CS_GPIO_Port, &GPIO_InitStruct);

  /*Configure GPIO pin : AUDIO_BUSY_Pin */
  GPIO_InitStruct.Pin = AUDIO_BUSY_Pin;
  GPIO_InitStruct.Mode = GPIO_MODE_INPUT;
  GPIO_InitStruct.Pull = GPIO_NOPULL;
  HAL_GPIO_Init(AUDIO_BUSY_GPIO_Port, &GPIO_InitStruct);

  /*Configure GPIO pin : MD1213_OE_Pin */
  GPIO_InitStruct.Pin = MD1213_OE_Pin;
  GPIO_InitStruct.Mode = GPIO_MODE_OUTPUT_PP;
  GPIO_InitStruct.Pull = GPIO_PULLUP;
  GPIO_InitStruct.Speed = GPIO_SPEED_FREQ_LOW;
  HAL_GPIO_Init(MD1213_OE_GPIO_Port, &GPIO_InitStruct);

}

/* USER CODE BEGIN 4 */

void setPWMDuty(uint16_t duty)
{
  uint32_t period = 1000;
  uint32_t pulse;
  double x,y;

  y = duty;

  x = (y/100)*period;

  pulse = (uint32_t)x;

#if 0
  TIM3->CCR1 = pulse;
#else

  TIM_OC_InitTypeDef sConfigOC = {0};

  HAL_TIM_PWM_Stop(&htim3,TIM_CHANNEL_1);

  /* USER CODE BEGIN TIM3_Init 1 */
  sConfigOC.OCMode = TIM_OCMODE_PWM1;
  sConfigOC.Pulse = pulse;
  sConfigOC.OCPolarity = TIM_OCPOLARITY_HIGH;
  sConfigOC.OCFastMode = TIM_OCFAST_DISABLE;
  if (HAL_TIM_PWM_ConfigChannel(&htim3, &sConfigOC, TIM_CHANNEL_1) != HAL_OK)
  {
    Error_Handler();
  }
  HAL_TIM_PWM_Start(&htim3,TIM_CHANNEL_1);
#endif
  return ;

}

int32_t gTBD[MAX_RF_CH];
int32_t gPRP[MAX_RF_CH];
int32_t gSD[MAX_RF_CH];
int32_t gISI[MAX_RF_CH];
int32_t gBI[MAX_RF_CH];
int32_t gTD[MAX_RF_CH];
int32_t gDelay[MAX_RF_CH];

static void init_timing(void)
{
  int i;

  for(i = RF_CH0 ; i < MAX_RF_CH ; i++) {
    gTBD[i] = -1;
    gPRP[i] = -1;
    gSD[i]  = -1;
    gISI[i] = -1;
    gBI[i]  = -1;
    gTD[i]  = -1;
  }

  gDelay[RF_CH0] = gConfig.setDelay[RF_CH0];
  gDelay[RF_CH1] = gConfig.setDelay[RF_CH1];
  gDelay[RF_CH2] = gConfig.setDelay[RF_CH2];
  gDelay[RF_CH3] = gConfig.setDelay[RF_CH3];
  gDelay[RF_CH4] = gConfig.setDelay[RF_CH4];
  gDelay[RF_CH5] = gConfig.setDelay[RF_CH5];
  gDelay[RF_CH6] = gConfig.setDelay[RF_CH6];
}

static void set_timing(void)
{
  int i;

//    gTBD = gConfig.setTBD;
//    gPRP = gConfig.setPRP;
//    gSD  = gConfig.setSD;
//    gISI = gConfig.setISI;
//    gBI  = gConfig.setBI;
//    gTD  = gConfig.setTD;
  for(i = RF_CH0 ; i < MAX_RF_CH ; i++) {
    gTBD[i] = gConfig.setTBD;
    gPRP[i] = gConfig.setPRP;
    gSD[i]  = gConfig.setSD;
    gISI[i] = gConfig.setISI;
    gBI[i]  = gConfig.setBI;
    gTD[i]  = gConfig.setTD;
  }

  gDelay[RF_CH0] = gConfig.setDelay[RF_CH0];
  gDelay[RF_CH1] = gConfig.setDelay[RF_CH1];
  gDelay[RF_CH2] = gConfig.setDelay[RF_CH2];
  gDelay[RF_CH3] = gConfig.setDelay[RF_CH3];
  gDelay[RF_CH4] = gConfig.setDelay[RF_CH4];
  gDelay[RF_CH5] = gConfig.setDelay[RF_CH5];
  gDelay[RF_CH6] = gConfig.setDelay[RF_CH6];

  INFO("\r\ncycle (TD %d/%d)\r\n",(gTD[RF_CH0]/SEC),(gConfig.setTD/SEC));
}

#if !defined(CONFIG_MULTI)
static void start_single_timer(void)
{
  HAL_TIM_Base_Start_IT(&htim6);
  HAL_TIM_PWM_Start(&htim5,TIM_CHANNEL_2);
  HAL_TIM_PWM_Start(&htim5,TIM_CHANNEL_1);

}

static void stop_single_timer(void)
{
  HAL_TIM_Base_Stop(&htim6);
  HAL_TIM_PWM_Stop(&htim5,TIM_CHANNEL_2);
  HAL_TIM_PWM_Stop(&htim5,TIM_CHANNEL_1);
}
#endif

#if defined(CONFIG_MULTI)
static void start_multi_timer(uint8_t ch)
{
  if(ch == RF_CH0) {
    HAL_TIM_PWM_Start(&htim1,TIM_CHANNEL_1);
    HAL_TIMEx_PWMN_Start(&htim1, TIM_CHANNEL_1);

    HAL_TIM_PWM_Start(&htim1,TIM_CHANNEL_2);
    HAL_TIMEx_PWMN_Start(&htim1, TIM_CHANNEL_2);

    HAL_TIM_PWM_Start(&htim1,TIM_CHANNEL_3);
    HAL_TIMEx_PWMN_Start(&htim1, TIM_CHANNEL_3);

    HAL_TIM_PWM_Start(&htim8,TIM_CHANNEL_1);
    HAL_TIMEx_PWMN_Start(&htim8, TIM_CHANNEL_1);
  } else if(ch == RF_CH1) {
    HAL_TIM_PWM_Start(&htim1,TIM_CHANNEL_1);
    HAL_TIMEx_PWMN_Start(&htim1, TIM_CHANNEL_1);
  } else if(ch == RF_CH2) {
    HAL_TIM_PWM_Start(&htim1,TIM_CHANNEL_2);
    HAL_TIMEx_PWMN_Start(&htim1, TIM_CHANNEL_2);
  } else if(ch == RF_CH3) {
    HAL_TIM_PWM_Start(&htim1,TIM_CHANNEL_3);
    HAL_TIMEx_PWMN_Start(&htim1, TIM_CHANNEL_3);
  } else if(ch == RF_CH4) {
    HAL_TIM_PWM_Start(&htim8,TIM_CHANNEL_1);
    HAL_TIMEx_PWMN_Start(&htim8, TIM_CHANNEL_1);
  }
}

static void stop_multi_timer(void)
{
  HAL_TIM_PWM_Stop(&htim1,TIM_CHANNEL_1);
  HAL_TIMEx_PWMN_Stop(&htim1, TIM_CHANNEL_1);

  HAL_TIM_PWM_Stop(&htim1,TIM_CHANNEL_2);
  HAL_TIMEx_PWMN_Stop(&htim1, TIM_CHANNEL_2);

  HAL_TIM_PWM_Stop(&htim1,TIM_CHANNEL_3);
  HAL_TIMEx_PWMN_Stop(&htim1, TIM_CHANNEL_3);

  HAL_TIM_PWM_Stop(&htim8,TIM_CHANNEL_1);
  HAL_TIMEx_PWMN_Stop(&htim8, TIM_CHANNEL_1);
}
#endif

void setSonication(int32_t mode)
{
  if(mode  == 0) {

    sound_Paly(2);

    init_timing();

    GPIO_HV_Enable(0);
#if defined(CONFIG_MULTI)
    STHV748_THSD_Enable(DISABLE);
    stop_multi_timer();
    HAL_TIM_Base_Stop(&htim6);
    TIM6->PSC = RF_PSC;
    RF_Start = 0;
    //HAL_TIM_Base_Start(&htim3);
    //HAL_TIM_Base_Start(&htim7);
#else
    MD1213_OE_Enable(0);
    stop_single_timer();
#endif
  } else {
    sound_Paly(1);
    set_timing();
#if defined(CONFIG_MULTI)
#if !defined(CONFIG_MULTI_DELAY)
    start_multi_timer(RF_CH0);
#else
    if(gDelay[RF_CH1] == 0)
      start_multi_timer(RF_CH1);
    if(gDelay[RF_CH2] == 0)
      start_multi_timer(RF_CH2);
    if(gDelay[RF_CH3] == 0)
      start_multi_timer(RF_CH3);
    if(gDelay[RF_CH4] == 0)
      start_multi_timer(RF_CH4);
#endif

    GPIO_HV_Enable(1);
    // STHV748_THSD_Enable(DISABLE);
    // STHV748_THSD_Enable(ENABLE);
    HAL_TIM_Base_Start_IT(&htim6);
#else
    MD1213_OE_Enable(0);
    start_single_timer();
    GPIO_HV_Enable(1);
#endif
  }
}

#define TIMER_BASC_CLK 60000000
int8_t setFrequncy(int32_t frq)
{
  uint32_t base_clk = TIMER_BASC_CLK/2;
  uint16_t scaler;

  scaler = base_clk/frq;

  if(scaler < 0xFFFF) {
#if defined(CONFIG_MULTI)
    TIM1->PSC = scaler-1;
    TIM8->PSC = scaler-1;
#else
    TIM5->PSC = scaler-1;
#endif
    return 1;
  }

  return 0;
}

int32_t calcurateSD(int32_t sd,int32_t prp)
{
  int32_t new;
  if(prp == 0) return 0;
  new = (sd/prp)*prp;
  return new;
}

int32_t setTiming(int32_t SD,int32_t ISI,int32_t *pTD)
{
  int32_t bi ,td;
  td = *pTD;
  bi = SD + ISI;

  if(td < bi) {
    *pTD = bi;
  }
  return bi;
}

int32_t setTBDAndDuty(int32_t tbd,int32_t duty)
{
  char str[64];
  int32_t PRP;

  // duty?�� 1 ~ 100 ?�� 값을 �?????�????? ?�� ?��?��
  // tbd ?�� 0 ?�� 값을 �?????질수 ?��?��

  //case 1 : tbd == 0 ?��경우 rpr ?�� 0 ?���????? ?��?��
  //case 2 : duty�????? 0 ?�� 경우 tbd �????? 0 �????? ?��?�� ?���????? 처리
  if(tbd == 0) {
    PRP = 0;
    return (PRP);
  }

  //case 3:  duty�????? 100 ?�� rpr ?�� 값�? ??

  // rpr = (tbd/duty)*100;
  // PRP = (int32_t)(tbd*(float)(100/duty));
  PRP = (int32_t)(tbd*(100/(float)duty));
  sprintf(str,"\r\nTBD %d, Duty %d, PRP %d(%0.1f)\r\n",tbd,duty, PRP, tbd*(100/(float)duty));
  INFO(str);
  return PRP;
}

void InituserTask03(CONFIG_T *sysconf)
{
  setSysTimeOut(UPDATE_TIMER,1);
}

void userTask03(CONFIG_T *sysconf)
{
  if(getSysTimeOut(UPDATE_TIMER) == 0)
  {
    if(sysconf->updateEnv != 0)
    {
      if(sysconf->updateEnv & (1 << CMD_setFrequency)) {
        sysconf->updateEnv &= ~(1 << CMD_setFrequency);
        sysconf->setFrequency = sysconf->n_setFrequency;

        if(setFrequncy(sysconf->setFrequency)) {

          nv_write_setFrequency(sysconf->setFrequency);
          DBG_INFO("\r\nUpdate Frequency\r\n");
          displayEnv(sysconf,CMD_getFrequency);
        }
      }

      if(sysconf->updateEnv & (1 << CMD_setOutputVoltage)) {
        sysconf->updateEnv &= ~(1 << CMD_setOutputVoltage);
        sysconf->setOutputVoltage = sysconf->n_setOutputVoltage;
        nv_write_setOutputVoltage(sysconf->setOutputVoltage);
        DBG_INFO("\r\nUpdate setOutputVoltage\r\n");
        displayEnv(sysconf,CMD_getOutputVoltage);
      }

      if(sysconf->updateEnv & (1 << CMD_setTBDAndDuty)) {
        sysconf->updateEnv &= ~(1 << CMD_setTBDAndDuty);
        sysconf->setTBD  = from100uSEC(sysconf->n_setTBD);
        sysconf->setDuty = sysconf->n_setDuty;

        sysconf->setPRP = setTBDAndDuty(sysconf->setTBD,sysconf->setDuty);

        nv_write_setTBD(sysconf->setTBD);
        nv_write_setDuty(sysconf->setDuty);
        nv_write_setPRP(sysconf->setPRP);

        DBG_INFO("\r\nUpdate setTBDAndDuty\r\n");
        displayEnv(sysconf,CMD_getTBDAndDuty);
      }

      if(sysconf->updateEnv & (1 << CMD_setTiming)) {
        int32_t a,b,c;
        sysconf->updateEnv &= ~(1 << CMD_setTiming);

        sysconf->setSD  = from1mSEC(sysconf->n_setSD);
        sysconf->setISI = from1sSEC(sysconf->n_setISI);
        sysconf->setTD  = from1sSEC(sysconf->n_setTD);

        sysconf->setBI = setTiming(sysconf->setSD,sysconf->setISI,&sysconf->setTD);

        a = calcurateSD(sysconf->setSD,sysconf->setPRP);

        b = sysconf->setSD - a;

        sysconf->setISI += b;
        sysconf->setSD   = a;

        nv_write_setSD(sysconf->setSD);
        nv_write_setISI(sysconf->setISI);
        nv_write_setBI(sysconf->setBI);
        nv_write_setTD(sysconf->setTD);

        DBG_INFO("\r\nUpdate setTiming\r\n");
        displayEnv(sysconf,CMD_getTiming);

      }

      if(sysconf->updateEnv & (1 << CMD_setImpedance)) {
        sysconf->updateEnv &= ~(1 << CMD_setImpedance);

        sysconf->setImpedance = sysconf->n_setImpedance;
        nv_write_setImpedance(sysconf->setImpedance);

        DBG_INFO("\r\nUpdate setImpedance\r\n");
        displayEnv(sysconf,CMD_getImpedance);
      }

      if(sysconf->updateEnv & (1 << CMD_setAbnormalStopMode)) {
        sysconf->updateEnv &= ~(1 << CMD_setAbnormalStopMode);

        sysconf->setAbnormalStopMode = sysconf->n_setAbnormalStopMode;
        sysconf->setAbnormalStopMaxV = sysconf->n_setAbnormalStopMaxV;
        sysconf->setAbnormalStopMaxI = sysconf->n_setAbnormalStopMaxI;
        sysconf->setAbnormalStopMinV = sysconf->n_setAbnormalStopMinV;
        sysconf->setAbnormalStopMinI = sysconf->n_setAbnormalStopMinI;

        nv_write_setAbnormalStopMode(sysconf->setAbnormalStopMode);

        DBG_INFO("\r\nUpdate setAbnormalStopMode\r\n");
        displayEnv(sysconf,CMD_getAbnormalStopMode);
      }

      if(sysconf->updateEnv & (1 << CMD_setDelay))  {
        sysconf->updateEnv &= ~(1 << CMD_setDelay);

        sysconf->setDelay[RF_CH0] = sysconf->n_setDelay[RF_CH0];
        sysconf->setDelay[RF_CH1] = sysconf->n_setDelay[RF_CH1];
        sysconf->setDelay[RF_CH2] = sysconf->n_setDelay[RF_CH2];
        sysconf->setDelay[RF_CH3] = sysconf->n_setDelay[RF_CH3];
        sysconf->setDelay[RF_CH4] = sysconf->n_setDelay[RF_CH4];
        sysconf->setDelay[RF_CH5] = sysconf->n_setDelay[RF_CH5];
        sysconf->setDelay[RF_CH6] = sysconf->n_setDelay[RF_CH6];
      }

      if(sysconf->updateEnv & (1 << CMD_sonication)) {
        sysconf->updateEnv &= ~(1 << CMD_sonication);
        sysconf->sonication = sysconf->n_sonication;
        DBG_INFO("\r\nUpdate sonication\r\n");
        INFO("\r\nsonication [%s]\r\n",sysconf->sonication == 1? "start":"stop");
        setSonication(sysconf->sonication);
      }

      if(sysconf->updateEnv & (1 << CMD_setDigipot)) {
        uint8_t val = 0;
        HAL_StatusTypeDef ret;
        sysconf->updateEnv &= ~(1 << CMD_setDigipot);

        ret = setDigpo(sysconf->digipotCH,sysconf->setDigipot,&val);

        if(ret == HAL_OK)
        {
          DBG_INFO("\r\nUpdate Digital Potentiometer \r\n");
          INFO("\r\nsetDigpo %d[%d]\r\n",sysconf->setDigipot,val);
        }
        else if(ret == HAL_ERROR)
        {
          DBG_ERROR("\r\nsetDigpo Error [ERROR]\r\n");
        }
        else if(ret == HAL_BUSY) {
          DBG_ERROR("\r\nsetDigpo Error [BUSY] \r\n");
        }
        else if(ret == HAL_TIMEOUT) {
          DBG_ERROR("\r\nsetDigpo Error [TIMEOUT]\r\n");
        }
      }
    }

    setSysTimeOut(UPDATE_TIMER,10);
  }
}

void HAL_UART_RxCpltCallback(UART_HandleTypeDef *huart)
{
  /* Prevent unused argument(s) compilation warning */
  UNUSED(huart);

  /* NOTE : This function should not be modified, when the callback is needed,
            the HAL_UART_RxCpltCallback can be implemented in the user file.
   */
#if defined(DEBUG_UART3)
  if(huart->Instance == USART3 || huart->Instance == USART1)
#else
  if(huart->Instance == USART1)
#endif
  {
    char  ch = (char)UARTRxBuff[UARTRxBuffIdx];
    switch (ch)
    {
      case 0x0A: //'\n'
       break;
      case 0x0D: //'\r'
      //case 0x0A: //'\n'
       CONFIG_MODE(3000);
       if(UARTRxBuffIdx != 0) {
         BUFFER_Write(&USART_Buffer,UARTRxBuff,UARTRxBuffIdx+1);
         UARTRxBuffIdx = 0;
       } else {
         BUFFER_Write(&USART_Buffer,(uint8_t *)&ch,1);
       }
       break;
      case 0x08: // '\b'
      case 0x7F:  // DEL
        if (UARTRxBuffIdx > 0)
        {
            xputs("\033[1D");
            xputs("\033[K");
            UARTRxBuffIdx--;
        }
        else
            xputc(0x07);
        break;
//    case 0x1B:  // ESC
//    case 0x09:  // HT (horizontal tab)
//    case 0x0B:  // VT (vertical tab)
//    case 0x0C:  // FF (NP form feed, new page)
//        break;
     default:
      xputc(ch);
      UARTRxBuffIdx++;
      break;
    }

#if defined(DEBUG_UART3)
  HAL_UART_Receive_IT(&huart1,(uint8_t*)&UARTRxBuff[UARTRxBuffIdx],1);
  HAL_UART_Receive_IT(&huart3,(uint8_t*)&UARTRxBuff[UARTRxBuffIdx],1);
#else
  HAL_UART_Receive_IT(&huart1,(uint8_t*)&UARTRxBuff[UARTRxBuffIdx],1);
#endif
  }

  if(huart->Instance == USART2)
  {
    char  ch = (char)UARTRxEEGBuff[UARTRxEEGBuffIdx];
    HAL_UART_Receive_IT(&huart2,(uint8_t*)&UARTRxEEGBuff[UARTRxEEGBuffIdx++],1);

    if(UARTRxEEGBuffIdx >= 128) UARTRxEEGBuffIdx = 0;
  }
}

void HAL_SYSTICK_Callback(void)
{
  /* NOTE : This function Should not be modified, when the callback is needed,
            the HAL_SYSTICK_Callback could be implemented in the user file
   */
  static uint16_t tick = 0;

  for(int i = 0; i < MAX_TIMER; i++) {
    if(systemTimer[i] > 0)
      systemTimer[i]--;
  }

  if(gConfig.timeout > 0) {
    gConfig.timeout--;
    if(gConfig.timeout == 0)
      gConfig.state = 0;
  }

  if(tick++ > 500)
  {
    tick = 0;
    HAL_GPIO_TogglePin(LED2_GPIO_Port,LED2_Pin);

  }
}

#if !defined(CONFIG_MULTI)
static void single_RF_generate(void)
{
  static int32_t  preTD = 0;

  if(gTD[RF_CH0]--) {
      //BI cycle
      if((gBI[RF_CH0]--) > 0) {
        if((gSD[RF_CH0]--) > 0) {
          if((gPRP[RF_CH0]--) > 0)
          {
            if((gTBD[RF_CH0]--) > 0)
              MD1213_OE_GPIO_Port->BSRR  = MD1213_OE_Pin;
              //MD1213_OE_Enable(1);
            else
              MD1213_OE_GPIO_Port->BSRR = (uint32_t)MD1213_OE_Pin << 16U;
              //MD1213_OE_Enable(0);

            if(gPRP[RF_CH0] == 0) {
               gTBD[RF_CH0] = gConfig.setTBD;
               gPRP[RF_CH0] = gConfig.setPRP;
             }
          }
        }
        else
        {
          MD1213_OE_GPIO_Port->BSRR = (uint32_t)MD1213_OE_Pin << 16U;
          //MD1213_OE_Enable(0);
        }

        if(gBI[RF_CH0] == 0) {
          gSD[RF_CH0] = gConfig.setSD;
          gBI[RF_CH0] = gConfig.setBI;
          gTBD[RF_CH0] = gConfig.setTBD;
          gPRP[RF_CH0] = gConfig.setPRP;
        }
      }
    } else {
      gTBD[RF_CH0] = -1;
      gPRP[RF_CH0] = -1;
      gSD[RF_CH0]  = -1;
      gISI[RF_CH0] = -1;
      gBI[RF_CH0]  = -1;
      gTD[RF_CH0]  = -1;

      if(gConfig.sonication) {
        gConfig.n_sonication = 0;
        gConfig.updateEnv |= (1 << CMD_sonication);
      }
      MD1213_OE_Enable(0);
      HAL_TIM_Base_Stop(&htim6);
    }
}
#endif

#if defined(CONFIG_MULTI)
static void multi_RF_generate(void)
{
  static int32_t  preTD = 0;
#if defined(CONFIG_MULTI_DELAY)
  if(gDelay[RF_CH1] > 0) {
    gDelay[RF_CH1]--;
    if(gDelay[RF_CH1] == 0)
      start_multi_timer(RF_CH1);
  }

  if(gDelay[RF_CH2] > 0) {
    gDelay[RF_CH2]--;
    if(gDelay[RF_CH2] == 0)
      start_multi_timer(RF_CH2);
  }

  if(gDelay[RF_CH3] > 0) {
    gDelay[RF_CH3]--;
    if(gDelay[RF_CH3] == 0)
      start_multi_timer(RF_CH3);
  }

  if(gDelay[RF_CH4] > 0) {
    gDelay[RF_CH4]--;
    if(gDelay[RF_CH4] == 0)
      start_multi_timer(RF_CH4);
  }
#endif

   if(gTD[RF_CH1]--) {
      //BI cycle
      if((gBI[RF_CH1]--) > 0) {
        if((gSD[RF_CH1]--) > 0) {
          if((gPRP[RF_CH1]--) > 0) {
             if((gTBD[RF_CH1]--) > 0) {
              STHV748_THSD_GPIO_Port->BSRR  = STHV748_THSD_Pin;
              //start_multi_timer(RF_CH0);
             } else {
              STHV748_THSD_GPIO_Port->BSRR = (uint32_t)STHV748_THSD_Pin << 16U;
              //stop_multi_timer();
             }

             //
             if(gPRP[RF_CH1] == 0) {
               gTBD[RF_CH1] = gConfig.setTBD;
               gPRP[RF_CH1] = gConfig.setPRP;
             }
          }
        }
        else
        {
          STHV748_THSD_GPIO_Port->BSRR = (uint32_t)STHV748_THSD_Pin << 16U;
          //stop_multi_timer();
        }

        if(gBI[RF_CH1] == 0) {
          gSD[RF_CH1] = gConfig.setSD;
          gBI[RF_CH1] = gConfig.setBI;
          gTBD[RF_CH1] = gConfig.setTBD;
          gPRP[RF_CH1] = gConfig.setPRP;
        }
      }
    } else {
      gTBD[RF_CH1] = -1;
      gPRP[RF_CH1] = -1;
      gSD [RF_CH1] = -1;
      gISI[RF_CH1] = -1;
      gBI [RF_CH1] = -1;
      gTD [RF_CH1] = -1;

      if(gConfig.sonication) {
        gConfig.n_sonication = 0;
        gConfig.updateEnv |= (1 << CMD_sonication);
      }

      //stop_multi_timer();

      HAL_TIM_Base_Stop(&htim6);
    }
}
#endif

void HAL_TIM_PeriodElapsedCallback(TIM_HandleTypeDef *htim)
{
  /* Prevent unused argument(s) compilation warning */
  UNUSED(htim);

  if(htim->Instance==TIM6)
  {
    if(RF_Start == 0) {
      RF_Start = 1;
      RF_PSC = TIM6->PSC;
      TIM6->PSC = 0;
    } else {
#if defined(CONFIG_MULTI)
    multi_RF_generate();
#else
    single_RF_generate();
#endif
    }
  }

  if(htim->Instance == TIM7) {
    DEBUG_EvtHandler();
    KeyScan();
    // Repeat_key_Scan();

  }

  /* NOTE : This function should not be modified, when the callback is needed,
            the HAL_TIM_PeriodElapsedCallback could be implemented in the user file
   */
}

/* USER CODE END 4 */

void Error_Handler(void)
{
}

/************************ (C) COPYRIGHT STMicroelectronics *****END OF FILE****/
